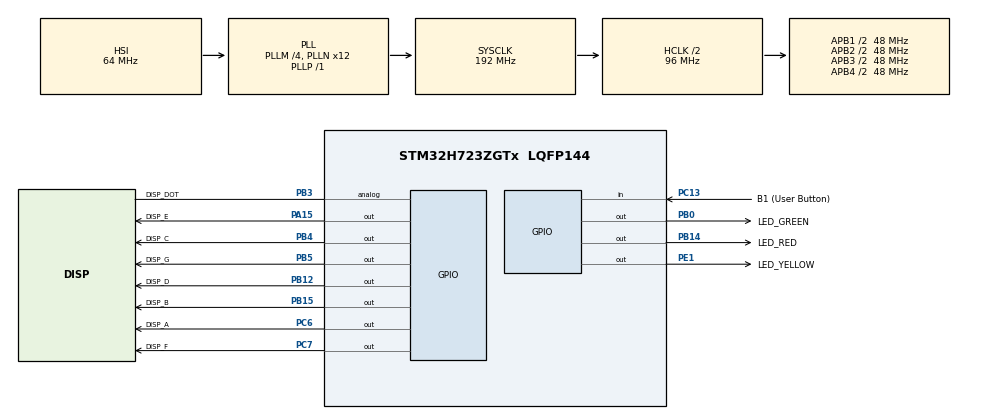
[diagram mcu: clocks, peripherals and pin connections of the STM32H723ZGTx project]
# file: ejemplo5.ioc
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CORTEX_M7.default_mode_Activation=1
Mcu.Family=STM32H7
Mcu.Name=STM32H723ZGTx
Mcu.Package=LQFP144
NVIC.PriorityGroup=NVIC_PRIORITYGROUP_4
PA13(JTMS/SWDIO).GPIO_Label=SWDIO
PA13(JTMS/SWDIO).Signal=DEBUG_JTMS-SWDIO
PA14(JTCK/SWCLK).GPIO_Label=SWCLK
PA14(JTCK/SWCLK).Signal=DEBUG_JTCK-SWCLK
PA15(JTDI).GPIO_Label=DISP_E
PA15(JTDI).Signal=GPIO_Output
PB0.GPIO_Label=LED_GREEN
PB0.Signal=GPIO_Output
PB12.GPIO_Label=DISP_D
PB12.Signal=GPIO_Output
PB14.GPIO_Label=LED_RED
PB14.Signal=GPIO_Output
PB15.GPIO_Label=DISP_B
PB15.Signal=GPIO_Output
PB3(JTDO/TRACESWO).GPIO_Label=DISP_DOT
PB3(JTDO/TRACESWO).Signal=GPIO_Analog
PB4(NJTRST).GPIO_Label=DISP_C
PB4(NJTRST).Signal=GPIO_Output
PB5.GPIO_Label=DISP_G
PB5.Signal=GPIO_Output
PC13.GPIO_Label=B1 (User Button)
PC13.Signal=GPIO_Input
PC14-OSC32_IN.Signal=RCC_OSC32_IN
PC15-OSC32_OUT.Signal=RCC_OSC32_OUT
PC6.GPIO_Label=DISP_A
PC6.Signal=GPIO_Output
PC7.GPIO_Label=DISP_F
PC7.Signal=GPIO_Output
PD8.GPIO_Label=STLK_VCP_RX
PD8.Signal=USART3_TX
PD9.GPIO_Label=STLK_VCP_TX
PD9.Signal=USART3_RX
PE1.GPIO_Label=LED_YELLOW
PE1.Signal=GPIO_Output
ProjectManager.HeapSize=0x200
ProjectManager.StackSize=0x400
ProjectManager.TargetToolchain=STM32CubeIDE
RCC.ADCFreq_Value=608000000
RCC.APB1Freq_Value=48000000
RCC.APB2Freq_Value=48000000
RCC.APB3Freq_Value=48000000
RCC.APB4Freq_Value=48000000
RCC.CortexFreq_Value=192000000
RCC.D1PPRE=RCC_APB3_DIV2
RCC.D2PPRE1=RCC_APB1_DIV2
RCC.D2PPRE2=RCC_APB2_DIV2
RCC.D3PPRE=RCC_APB4_DIV2
RCC.DIVM1=4
RCC.DIVM2=1
RCC.DIVN1=12
RCC.DIVN2=19
RCC.DIVP1=1
RCC.DIVQ1=4
RCC.HCLKFreq_Value=96000000
RCC.HPRE=RCC_HCLK_DIV2
RCC.HSE_VALUE=8000000
RCC.PLLFRACN=0
RCC.SYSCLKFreq_VALUE=192000000
RCC.SYSCLKSource=RCC_SYSCLKSOURCE_PLLCLK
RCC.USBCLockSelection=RCC_USBCLKSOURCE_HSI48
RCC.USBFreq_Value=48000000
VP_MEMORYMAP_VS_MEMORYMAP.Mode=CurAppReg
board=NUCLEO-H723ZG

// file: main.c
/* USER CODE BEGIN Header */
/**
  ******************************************************************************
  * @file           : main.c
  * @brief          : Main program body
  ******************************************************************************
  * @attention
  *
  * Copyright (c) 2025 STMicroelectronics.
  * All rights reserved.
  *
  * This software is licensed under terms that can be found in the LICENSE file
  * in the root directory of this software component.
  * If no LICENSE file comes with this software, it is provided AS-IS.
  *
  ******************************************************************************
  */
/* USER CODE END Header */
#include "main.h"

void SystemClock_Config(void);
static void MPU_Config(void);
static void MX_GPIO_Init(void);
/* USER CODE BEGIN PFP */
void num2disp(uint8_t num)
{
	switch(num)
	{
	case 0:
		HAL_GPIO_WritePin(DISP_A_GPIO_Port, DISP_A_Pin, 1);
		HAL_GPIO_WritePin(DISP_B_GPIO_Port, DISP_B_Pin, 1);
		HAL_GPIO_WritePin(DISP_C_GPIO_Port, DISP_C_Pin, 1);
		HAL_GPIO_WritePin(DISP_D_GPIO_Port, DISP_D_Pin, 1);
		HAL_GPIO_WritePin(DISP_E_GPIO_Port, DISP_E_Pin, 1);
		HAL_GPIO_WritePin(DISP_F_GPIO_Port, DISP_F_Pin, 1);
		HAL_GPIO_WritePin(DISP_G_GPIO_Port, DISP_G_Pin, 0);
		break;
	case 1:
		HAL_GPIO_WritePin(DISP_A_GPIO_Port, DISP_A_Pin, 0);
		HAL_GPIO_WritePin(DISP_B_GPIO_Port, DISP_B_Pin, 1);
		HAL_GPIO_WritePin(DISP_C_GPIO_Port, DISP_C_Pin, 1);
		HAL_GPIO_WritePin(DISP_D_GPIO_Port, DISP_D_Pin, 0);
		HAL_GPIO_WritePin(DISP_E_GPIO_Port, DISP_E_Pin, 0);
		HAL_GPIO_WritePin(DISP_F_GPIO_Port, DISP_F_Pin, 0);
		HAL_GPIO_WritePin(DISP_G_GPIO_Port, DISP_G_Pin, 0);
		break;
	case 2:
		HAL_GPIO_WritePin(DISP_A_GPIO_Port, DISP_A_Pin, 1);
		HAL_GPIO_WritePin(DISP_B_GPIO_Port, DISP_B_Pin, 1);
		HAL_GPIO_WritePin(DISP_C_GPIO_Port, DISP_C_Pin, 0);
		HAL_GPIO_WritePin(DISP_D_GPIO_Port, DISP_D_Pin, 1);
		HAL_GPIO_WritePin(DISP_E_GPIO_Port, DISP_E_Pin, 1);
		HAL_GPIO_WritePin(DISP_F_GPIO_Port, DISP_F_Pin, 0);
		HAL_GPIO_WritePin(DISP_G_GPIO_Port, DISP_G_Pin, 1);
		break;
	case 3:
		HAL_GPIO_WritePin(DISP_A_GPIO_Port, DISP_A_Pin, 1);
		HAL_GPIO_WritePin(DISP_B_GPIO_Port, DISP_B_Pin, 1);
		HAL_GPIO_WritePin(DISP_C_GPIO_Port, DISP_C_Pin, 1);
		HAL_GPIO_WritePin(DISP_D_GPIO_Port, DISP_D_Pin, 1);
		HAL_GPIO_WritePin(DISP_E_GPIO_Port, DISP_E_Pin, 0);
		HAL_GPIO_WritePin(DISP_F_GPIO_Port, DISP_F_Pin, 0);
		HAL_GPIO_WritePin(DISP_G_GPIO_Port, DISP_G_Pin, 1);
		break;
	case 4:
		HAL_GPIO_WritePin(DISP_A_GPIO_Port, DISP_A_Pin, 0);
		HAL_GPIO_WritePin(DISP_B_GPIO_Port, DISP_B_Pin, 1);
		HAL_GPIO_WritePin(DISP_C_GPIO_Port, DISP_C_Pin, 1);
		HAL_GPIO_WritePin(DISP_D_GPIO_Port, DISP_D_Pin, 0);
		HAL_GPIO_WritePin(DISP_E_GPIO_Port, DISP_E_Pin, 0);
		HAL_GPIO_WritePin(DISP_F_GPIO_Port, DISP_F_Pin, 1);
		HAL_GPIO_WritePin(DISP_G_GPIO_Port, DISP_G_Pin, 1);
		break;
	case 5:
		HAL_GPIO_WritePin(DISP_A_GPIO_Port, DISP_A_Pin, 1);
		HAL_GPIO_WritePin(DISP_B_GPIO_Port, DISP_B_Pin, 0);
		HAL_GPIO_WritePin(DISP_C_GPIO_Port, DISP_C_Pin, 1);
		HAL_GPIO_WritePin(DISP_D_GPIO_Port, DISP_D_Pin, 1);
		HAL_GPIO_WritePin(DISP_E_GPIO_Port, DISP_E_Pin, 0);
		HAL_GPIO_WritePin(DISP_F_GPIO_Port, DISP_F_Pin, 1);
		HAL_GPIO_WritePin(DISP_G_GPIO_Port, DISP_G_Pin, 1);
		break;
	case 6:
		HAL_GPIO_WritePin(DISP_A_GPIO_Port, DISP_A_Pin, 1);
		HAL_GPIO_WritePin(DISP_B_GPIO_Port, DISP_B_Pin, 0);
		HAL_GPIO_WritePin(DISP_C_GPIO_Port, DISP_C_Pin, 1);
		HAL_GPIO_WritePin(DISP_D_GPIO_Port, DISP_D_Pin, 1);
		HAL_GPIO_WritePin(DISP_E_GPIO_Port, DISP_E_Pin, 1);
		HAL_GPIO_WritePin(DISP_F_GPIO_Port, DISP_F_Pin, 1);
		HAL_GPIO_WritePin(DISP_G_GPIO_Port, DISP_G_Pin, 1);
		break;
	case 7:
		HAL_GPIO_WritePin(DISP_A_GPIO_Port, DISP_A_Pin, 1);
		HAL_GPIO_WritePin(DISP_B_GPIO_Port, DISP_B_Pin, 1);
		HAL_GPIO_WritePin(DISP_C_GPIO_Port, DISP_C_Pin, 1);
		HAL_GPIO_WritePin(DISP_D_GPIO_Port, DISP_D_Pin, 0);
		HAL_GPIO_WritePin(DISP_E_GPIO_Port, DISP_E_Pin, 0);
		HAL_GPIO_WritePin(DISP_F_GPIO_Port, DISP_F_Pin, 0);
		HAL_GPIO_WritePin(DISP_G_GPIO_Port, DISP_G_Pin, 0);
		break;
	case 8:
		HAL_GPIO_WritePin(DISP_A_GPIO_Port, DISP_A_Pin, 1);
		HAL_GPIO_WritePin(DISP_B_GPIO_Port, DISP_B_Pin, 1);
		HAL_GPIO_WritePin(DISP_C_GPIO_Port, DISP_C_Pin, 1);
		HAL_GPIO_WritePin(DISP_D_GPIO_Port, DISP_D_Pin, 1);
		HAL_GPIO_WritePin(DISP_E_GPIO_Port, DISP_E_Pin, 1);
		HAL_GPIO_WritePin(DISP_F_GPIO_Port, DISP_F_Pin, 1);
		HAL_GPIO_WritePin(DISP_G_GPIO_Port, DISP_G_Pin, 1);
		break;
	case 9:
		HAL_GPIO_WritePin(DISP_A_GPIO_Port, DISP_A_Pin, 1);
		HAL_GPIO_WritePin(DISP_B_GPIO_Port, DISP_B_Pin, 1);
		HAL_GPIO_WritePin(DISP_C_GPIO_Port, DISP_C_Pin, 1);
		HAL_GPIO_WritePin(DISP_D_GPIO_Port, DISP_D_Pin, 0);
		HAL_GPIO_WritePin(DISP_E_GPIO_Port, DISP_E_Pin, 0);
		HAL_GPIO_WritePin(DISP_F_GPIO_Port, DISP_F_Pin, 1);
		HAL_GPIO_WritePin(DISP_G_GPIO_Port, DISP_G_Pin, 1);
		break;
	}
}
/* USER CODE END PFP */

int main(void)
{

  /* MPU Configuration--------------------------------------------------------*/
  MPU_Config();

  /* MCU Configuration--------------------------------------------------------*/

  /* Reset of all peripherals, Initializes the Flash interface and the Systick. */
  HAL_Init();

  /* Configure the system clock */
  SystemClock_Config();

  /* Initialize all configured peripherals */
  MX_GPIO_Init();
  /* USER CODE BEGIN 2 */
  uint32_t time = 0, counter_time = 0;
  uint8_t counter = 0;
  /* USER CODE END 2 */

  /* Infinite loop */
  /* USER CODE BEGIN WHILE */
  while (1)
  {
	  time = HAL_GetTick();
	  if(time - counter_time>1000){
		  num2disp(counter);
		  counter = (counter + 1)%10;
		  counter_time = time;
	  }
    /* USER CODE END WHILE */

  }
}

void SystemClock_Config(void)
{
  RCC_OscInitTypeDef RCC_OscInitStruct = {0};
  RCC_ClkInitTypeDef RCC_ClkInitStruct = {0};

  /** Supply configuration update enable
  */
  HAL_PWREx_ConfigSupply(PWR_LDO_SUPPLY);

  /** Configure the main internal regulator output voltage
  */
  __HAL_PWR_VOLTAGESCALING_CONFIG(PWR_REGULATOR_VOLTAGE_SCALE2);

  while(!__HAL_PWR_GET_FLAG(PWR_FLAG_VOSRDY)) {}

  /** Initializes the RCC Oscillators according to the specified parameters
  * in the RCC_OscInitTypeDef structure.
  */
  RCC_OscInitStruct.OscillatorType = RCC_OSCILLATORTYPE_HSI;
  RCC_OscInitStruct.HSIState = RCC_HSI_DIV1;
  RCC_OscInitStruct.HSICalibrationValue = 64;
  RCC_OscInitStruct.PLL.PLLState = RCC_PLL_ON;
  RCC_OscInitStruct.PLL.PLLSource = RCC_PLLSOURCE_HSI;
  RCC_OscInitStruct.PLL.PLLM = 4;
  RCC_OscInitStruct.PLL.PLLN = 12;
  RCC_OscInitStruct.PLL.PLLP = 1;
  RCC_OscInitStruct.PLL.PLLQ = 4;
  RCC_OscInitStruct.PLL.PLLR = 2;
  RCC_OscInitStruct.PLL.PLLRGE = RCC_PLL1VCIRANGE_3;
  RCC_OscInitStruct.PLL.PLLVCOSEL = RCC_PLL1VCOWIDE;
  RCC_OscInitStruct.PLL.PLLFRACN = 0;
  if (HAL_RCC_OscConfig(&RCC_OscInitStruct) != HAL_OK)
  {
    Error_Handler();
  }

  /** Initializes the CPU, AHB and APB buses clocks
  */
  RCC_ClkInitStruct.ClockType = RCC_CLOCKTYPE_HCLK|RCC_CLOCKTYPE_SYSCLK
                              |RCC_CLOCKTYPE_PCLK1|RCC_CLOCKTYPE_PCLK2
                              |RCC_CLOCKTYPE_D3PCLK1|RCC_CLOCKTYPE_D1PCLK1;
  RCC_ClkInitStruct.SYSCLKSource = RCC_SYSCLKSOURCE_PLLCLK;
  RCC_ClkInitStruct.SYSCLKDivider = RCC_SYSCLK_DIV1;
  RCC_ClkInitStruct.AHBCLKDivider = RCC_HCLK_DIV2;
  RCC_ClkInitStruct.APB3CLKDivider = RCC_APB3_DIV2;
  RCC_ClkInitStruct.APB1CLKDivider = RCC_APB1_DIV2;
  RCC_ClkInitStruct.APB2CLKDivider = RCC_APB2_DIV2;
  RCC_ClkInitStruct.APB4CLKDivider = RCC_APB4_DIV2;

  if (HAL_RCC_ClockConfig(&RCC_ClkInitStruct, FLASH_LATENCY_1) != HAL_OK)
  {
    Error_Handler();
  }
}

static void MX_GPIO_Init(void)
{
  GPIO_InitTypeDef GPIO_InitStruct = {0};

  /* GPIO Ports Clock Enable */
  __HAL_RCC_GPIOC_CLK_ENABLE();
  __HAL_RCC_GPIOB_CLK_ENABLE();
  __HAL_RCC_GPIOD_CLK_ENABLE();
  __HAL_RCC_GPIOA_CLK_ENABLE();
  __HAL_RCC_GPIOE_CLK_ENABLE();

  /*Configure GPIO pin Output Level */
  HAL_GPIO_WritePin(GPIOB, LED_GREEN_Pin|DISP_D_Pin|LED_RED_Pin|DISP_B_Pin
                          |DISP_C_Pin|DISP_G_Pin, GPIO_PIN_RESET);

  /*Configure GPIO pin Output Level */
  HAL_GPIO_WritePin(GPIOC, DISP_A_Pin|DISP_F_Pin, GPIO_PIN_RESET);

  /*Configure GPIO pin Output Level */
  HAL_GPIO_WritePin(DISP_E_GPIO_Port, DISP_E_Pin, GPIO_PIN_RESET);

  /*Configure GPIO pin Output Level */
  HAL_GPIO_WritePin(LED_YELLOW_GPIO_Port, LED_YELLOW_Pin, GPIO_PIN_RESET);

  /*Configure GPIO pin : B1_Pin */
  GPIO_InitStruct.Pin = B1_Pin;
  GPIO_InitStruct.Mode = GPIO_MODE_INPUT;
  GPIO_InitStruct.Pull = GPIO_NOPULL;
  HAL_GPIO_Init(B1_GPIO_Port, &GPIO_InitStruct);

  /*Configure GPIO pins : LED_GREEN_Pin DISP_D_Pin LED_RED_Pin DISP_B_Pin
                           DISP_C_Pin DISP_G_Pin */
  GPIO_InitStruct.Pin = LED_GREEN_Pin|DISP_D_Pin|LED_RED_Pin|DISP_B_Pin
                          |DISP_C_Pin|DISP_G_Pin;
  GPIO_InitStruct.Mode = GPIO_MODE_OUTPUT_PP;
  GPIO_InitStruct.Pull = GPIO_NOPULL;
  GPIO_InitStruct.Speed = GPIO_SPEED_FREQ_LOW;
  HAL_GPIO_Init(GPIOB, &GPIO_InitStruct);

  /*Configure GPIO pins : STLK_VCP_RX_Pin STLK_VCP_TX_Pin */
  GPIO_InitStruct.Pin = STLK_VCP_RX_Pin|STLK_VCP_TX_Pin;
  GPIO_InitStruct.Mode = GPIO_MODE_AF_PP;
  GPIO_InitStruct.Pull = GPIO_NOPULL;
  GPIO_InitStruct.Speed = GPIO_SPEED_FREQ_LOW;
  GPIO_InitStruct.Alternate = GPIO_AF7_USART3;
  HAL_GPIO_Init(GPIOD, &GPIO_InitStruct);

  /*Configure GPIO pins : DISP_A_Pin DISP_F_Pin */
  GPIO_InitStruct.Pin = DISP_A_Pin|DISP_F_Pin;
  GPIO_InitStruct.Mode = GPIO_MODE_OUTPUT_PP;
  GPIO_InitStruct.Pull = GPIO_NOPULL;
  GPIO_InitStruct.Speed = GPIO_SPEED_FREQ_LOW;
  HAL_GPIO_Init(GPIOC, &GPIO_InitStruct);

  /*Configure GPIO pin : DISP_E_Pin */
  GPIO_InitStruct.Pin = DISP_E_Pin;
  GPIO_InitStruct.Mode = GPIO_MODE_OUTPUT_PP;
  GPIO_InitStruct.Pull = GPIO_NOPULL;
  GPIO_InitStruct.Speed = GPIO_SPEED_FREQ_LOW;
  HAL_GPIO_Init(DISP_E_GPIO_Port, &GPIO_InitStruct);

  /*Configure GPIO pin : DISP_DOT_Pin */
  GPIO_InitStruct.Pin = DISP_DOT_Pin;
  GPIO_InitStruct.Mode = GPIO_MODE_ANALOG;
  GPIO_InitStruct.Pull = GPIO_NOPULL;
  HAL_GPIO_Init(DISP_DOT_GPIO_Port, &GPIO_InitStruct);

  /*Configure GPIO pin : LED_YELLOW_Pin */
  GPIO_InitStruct.Pin = LED_YELLOW_Pin;
  GPIO_InitStruct.Mode = GPIO_MODE_OUTPUT_PP;
  GPIO_InitStruct.Pull = GPIO_NOPULL;
  GPIO_InitStruct.Speed = GPIO_SPEED_FREQ_LOW;
  HAL_GPIO_Init(LED_YELLOW_GPIO_Port, &GPIO_InitStruct);

}

 /* MPU Configuration */

void MPU_Config(void)
{
  MPU_Region_InitTypeDef MPU_InitStruct = {0};

  /* Disables the MPU */
  HAL_MPU_Disable();

  /** Initializes and configures the Region and the memory to be protected
  */
  MPU_InitStruct.Enable = MPU_REGION_ENABLE;
  MPU_InitStruct.Number = MPU_REGION_NUMBER0;
  MPU_InitStruct.BaseAddress = 0x0;
  MPU_InitStruct.Size = MPU_REGION_SIZE_4GB;
  MPU_InitStruct.SubRegionDisable = 0x87;
  MPU_InitStruct.TypeExtField = MPU_TEX_LEVEL0;
  MPU_InitStruct.AccessPermission = MPU_REGION_NO_ACCESS;
  MPU_InitStruct.DisableExec = MPU_INSTRUCTION_ACCESS_DISABLE;
  MPU_InitStruct.IsShareable = MPU_ACCESS_SHAREABLE;
  MPU_InitStruct.IsCacheable = MPU_ACCESS_NOT_CACHEABLE;
  MPU_InitStruct.IsBufferable = MPU_ACCESS_NOT_BUFFERABLE;

  HAL_MPU_ConfigRegion(&MPU_InitStruct);
  /* Enables the MPU */
  HAL_MPU_Enable(MPU_PRIVILEGED_DEFAULT);

}

void Error_Handler(void)
{
  __disable_irq();
  while (1)
  {
  }
}
